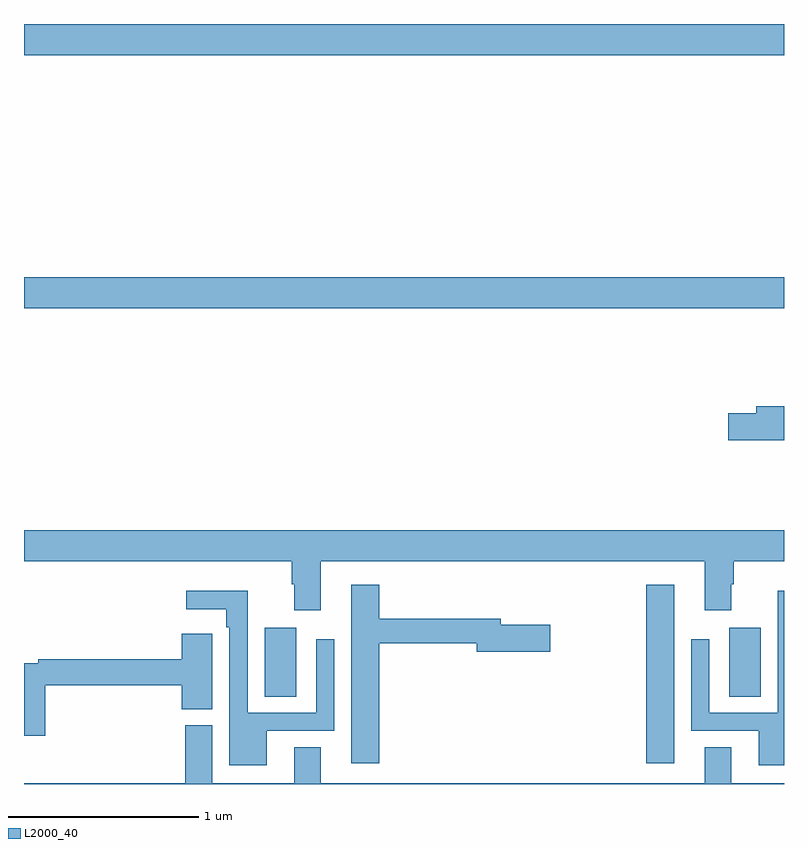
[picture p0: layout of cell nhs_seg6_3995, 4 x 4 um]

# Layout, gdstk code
import gdstk
lib = gdstk.Library(unit=1e-6, precision=1e-09)
def R(c, l, rs):  # rectangles x0, y0, x1, y1
    for r in rs: c.add(gdstk.rectangle(r[:2], r[2:], *l))
def P(c, l, *ps):  # polygons
    for p in ps: c.add(gdstk.Polygon(p, *l))
L2000_40 = (2000, 40)

nhs_seg6_3995 = lib.new_cell('nhs_seg6_3995')
R(nhs_seg6_3995, L2000_40, [(350.276,943.608,350.422,944.548), (348.266,943.96,348.433,944.323), (350.711,943.96,350.878,944.323), (347,946.004,351,946.168), (347,947.336,351,947.5)])
P(nhs_seg6_3995, L2000_40, [(351,945.488),(350.855,945.488),(350.855,945.452),(350.706,945.452),(350.706,945.31),(351,945.31)],
  [(348.562,944.672),(350.582,944.672),(350.582,944.415),(350.722,944.415),(350.722,944.552),(350.735,944.552),(350.735,944.672),(351,944.672),(351,944.836),(347,944.836),(347,944.672),(348.41,944.672),(348.41,944.552),(348.422,944.552),(348.422,944.415),(348.562,944.415)],
  [(348.869,944.242),(349.382,944.242),(349.382,944.195),(349.771,944.195),(349.771,944.337),(349.51,944.337),(349.51,944.371),(348.869,944.371),(348.869,944.548),(348.722,944.548),(348.722,943.608),(348.869,943.608)],
  [(348.277,943.779),(348.633,943.779),(348.633,944.263),(348.537,944.263),(348.537,943.875),(348.177,943.875),(348.177,944.518),(347.853,944.518),(347.853,944.42),(348.065,944.42),(348.065,944.324),(348.081,944.324),(348.081,943.598),(348.277,943.598)],
  [(351,944.518),(350.967,944.518),(350.967,943.875),(350.607,943.875),(350.607,944.263),(350.511,944.263),(350.511,943.779),(350.867,943.779),(350.867,943.598),(351,943.598)],
  [(347.111,944.02),(347.831,944.02),(347.831,943.894),(347.992,943.894),(347.992,944.177),(347.991,944.177),(347.991,944.29),(347.831,944.29),(347.831,944.156),(347.074,944.156),(347.074,944.136),(347,944.136),(347,943.755),(347.111,943.755)],
  [(351,943.504),(350.722,943.504),(350.722,943.694),(350.582,943.694),(350.582,943.504),(348.562,943.504),(348.562,943.694),(348.422,943.694),(348.422,943.504),(347.992,943.504),(347.992,943.809),(347.849,943.809),(347.849,943.504),(347,943.504),(347,943.5),(351,943.5)])

lib.write_gds('nhs_seg6_3995.gds')
